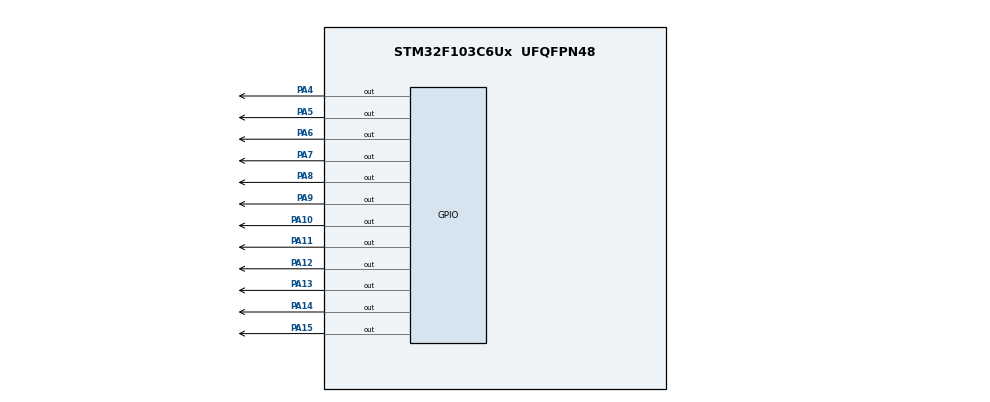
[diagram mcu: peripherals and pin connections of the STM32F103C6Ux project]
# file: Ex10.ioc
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Mcu.Family=STM32F1
Mcu.Name=STM32F103C6Ux
Mcu.Package=UFQFPN48
NVIC.PriorityGroup=NVIC_PRIORITYGROUP_4
PA10.Signal=GPIO_Output
PA11.Signal=GPIO_Output
PA12.Signal=GPIO_Output
PA13.Signal=GPIO_Output
PA14.Signal=GPIO_Output
PA15.Signal=GPIO_Output
PA4.Signal=GPIO_Output
PA5.Signal=GPIO_Output
PA6.Signal=GPIO_Output
PA7.Signal=GPIO_Output
PA8.Signal=GPIO_Output
PA9.Signal=GPIO_Output
ProjectManager.HeapSize=0x200
ProjectManager.StackSize=0x400
ProjectManager.TargetToolchain=STM32CubeIDE
RCC.APB1Freq_Value=8000000
RCC.APB2Freq_Value=8000000
VP_SYS_VS_ND.Mode=No_Debug
board=custom

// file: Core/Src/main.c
/* USER CODE BEGIN Header */
/**
  ******************************************************************************
  * @file           : main.c
  * @brief          : Main program body
  ******************************************************************************
  * @attention
  *
  * <h2><center>&copy; Copyright (c) 2025 STMicroelectronics.
  * All rights reserved.</center></h2>
  *
  * This software component is licensed by ST under BSD 3-Clause license,
  * the "License"; You may not use this file except in compliance with the
  * License. You may obtain a copy of the License at:
  *                        opensource.org/licenses/BSD-3-Clause
  *
  ******************************************************************************
  */
/* USER CODE END Header */
#include "main.h"

/* USER CODE BEGIN PV */
  uint16_t led[12] = {GPIO_PIN_4, GPIO_PIN_5, GPIO_PIN_6, GPIO_PIN_7, GPIO_PIN_8, GPIO_PIN_9, GPIO_PIN_10,
  		  GPIO_PIN_11, GPIO_PIN_12, GPIO_PIN_13, GPIO_PIN_14, GPIO_PIN_15};
/* USER CODE END PV */

void SystemClock_Config(void);
static void MX_GPIO_Init(void);
/* USER CODE BEGIN PFP */
void test(int i);
void clearAllClock();
void setNumberOnClock(int num);
void clearNumberOnClock(int num);
/* USER CODE END PFP */

int main(void)
{

  /* MCU Configuration--------------------------------------------------------*/

  /* Reset of all peripherals, Initializes the Flash interface and the Systick. */
  HAL_Init();

  /* Configure the system clock */
  SystemClock_Config();

  /* Initialize all configured peripherals */
  MX_GPIO_Init();
  /* USER CODE BEGIN 2 */
  int hourCounter = 0, minuteCounter = 0, secondCounter = 0;
  /* USER CODE END 2 */

  /* Infinite loop */
  /* USER CODE BEGIN WHILE */
  while (1)
  {
	  clearAllClock();
	  setNumberOnClock(hourCounter);
	  setNumberOnClock(minuteCounter / 5);
	  setNumberOnClock(secondCounter / 5);
	  secondCounter++;
	  if (secondCounter >= 60) {
		  secondCounter = 0;
		  minuteCounter++;
	  }
	  if (minuteCounter >= 60) {
		  minuteCounter = 0;
		  hourCounter++;
	  }
	  if (hourCounter >= 12) {
		  hourCounter = 0;
	  }
	  HAL_Delay(1000);
    /* USER CODE END WHILE */

  }
}

void SystemClock_Config(void)
{
  RCC_OscInitTypeDef RCC_OscInitStruct = {0};
  RCC_ClkInitTypeDef RCC_ClkInitStruct = {0};

  /** Initializes the RCC Oscillators according to the specified parameters
  * in the RCC_OscInitTypeDef structure.
  */
  RCC_OscInitStruct.OscillatorType = RCC_OSCILLATORTYPE_HSI;
  RCC_OscInitStruct.HSIState = RCC_HSI_ON;
  RCC_OscInitStruct.HSICalibrationValue = RCC_HSICALIBRATION_DEFAULT;
  RCC_OscInitStruct.PLL.PLLState = RCC_PLL_NONE;
  if (HAL_RCC_OscConfig(&RCC_OscInitStruct) != HAL_OK)
  {
    Error_Handler();
  }
  /** Initializes the CPU, AHB and APB buses clocks
  */
  RCC_ClkInitStruct.ClockType = RCC_CLOCKTYPE_HCLK|RCC_CLOCKTYPE_SYSCLK
                              |RCC_CLOCKTYPE_PCLK1|RCC_CLOCKTYPE_PCLK2;
  RCC_ClkInitStruct.SYSCLKSource = RCC_SYSCLKSOURCE_HSI;
  RCC_ClkInitStruct.AHBCLKDivider = RCC_SYSCLK_DIV1;
  RCC_ClkInitStruct.APB1CLKDivider = RCC_HCLK_DIV1;
  RCC_ClkInitStruct.APB2CLKDivider = RCC_HCLK_DIV1;

  if (HAL_RCC_ClockConfig(&RCC_ClkInitStruct, FLASH_LATENCY_0) != HAL_OK)
  {
    Error_Handler();
  }
}

static void MX_GPIO_Init(void)
{
  GPIO_InitTypeDef GPIO_InitStruct = {0};

  /* GPIO Ports Clock Enable */
  __HAL_RCC_GPIOA_CLK_ENABLE();

  /*Configure GPIO pin Output Level */
  HAL_GPIO_WritePin(GPIOA, GPIO_PIN_4|GPIO_PIN_5|GPIO_PIN_6|GPIO_PIN_7
                          |GPIO_PIN_8|GPIO_PIN_9|GPIO_PIN_10|GPIO_PIN_11
                          |GPIO_PIN_12|GPIO_PIN_13|GPIO_PIN_14|GPIO_PIN_15, GPIO_PIN_RESET);

  /*Configure GPIO pins : PA4 PA5 PA6 PA7
                           PA8 PA9 PA10 PA11
                           PA12 PA13 PA14 PA15 */
  GPIO_InitStruct.Pin = GPIO_PIN_4|GPIO_PIN_5|GPIO_PIN_6|GPIO_PIN_7
                          |GPIO_PIN_8|GPIO_PIN_9|GPIO_PIN_10|GPIO_PIN_11
                          |GPIO_PIN_12|GPIO_PIN_13|GPIO_PIN_14|GPIO_PIN_15;
  GPIO_InitStruct.Mode = GPIO_MODE_OUTPUT_PP;
  GPIO_InitStruct.Pull = GPIO_NOPULL;
  GPIO_InitStruct.Speed = GPIO_SPEED_FREQ_LOW;
  HAL_GPIO_Init(GPIOA, &GPIO_InitStruct);

}

/* USER CODE BEGIN 4 */
void test(int i) {
	  // TURN OFF ALL LED, THEN TURN ON EVERY LED AND ANOTHER LED THAT IS 2 POSITIONS AWAY ON PINS 4-15
	  clearAllClock();
	  setNumberOnClock(i);
	  setNumberOnClock((i + 2) % 12);
}
void clearAllClock() {
	  HAL_GPIO_WritePin(GPIOA, GPIO_PIN_4 | GPIO_PIN_5 | GPIO_PIN_6 | GPIO_PIN_7 |
			  GPIO_PIN_8 | GPIO_PIN_9 | GPIO_PIN_10 | GPIO_PIN_11 |
			  GPIO_PIN_12 | GPIO_PIN_13 | GPIO_PIN_14 | GPIO_PIN_15, SET);
}
void setNumberOnClock(int num) {
	  HAL_GPIO_WritePin(GPIOA, led[num], RESET);
}
void clearNumberOnClock(int num) {
	  HAL_GPIO_WritePin(GPIOA, led[num], SET);
}
/* USER CODE END 4 */

void Error_Handler(void)
{
  __disable_irq();
  while (1)
  {
  }
}

/************************ (C) COPYRIGHT STMicroelectronics *****END OF FILE****/
